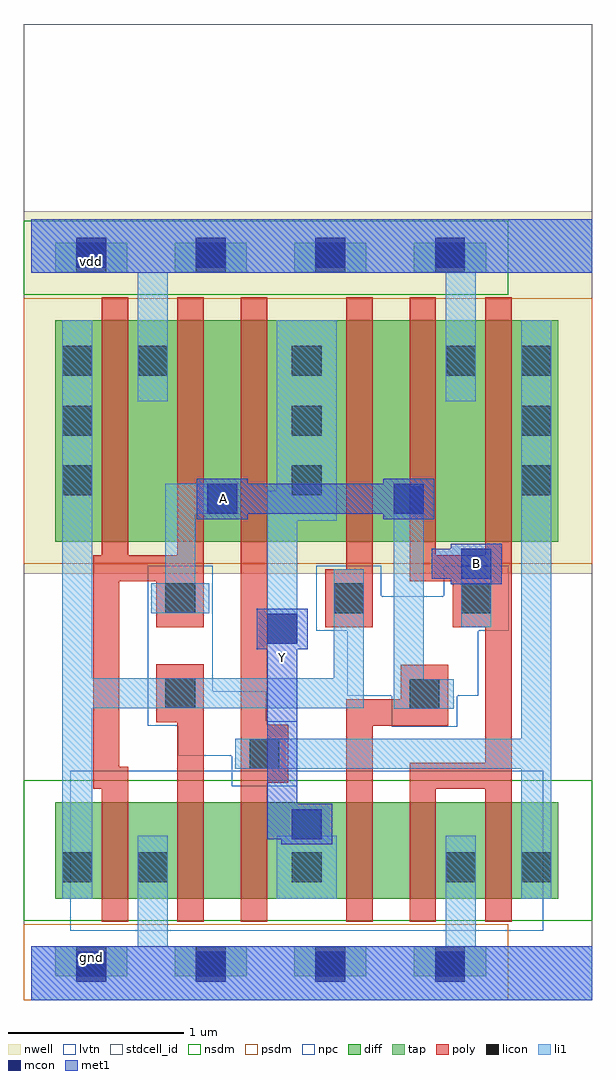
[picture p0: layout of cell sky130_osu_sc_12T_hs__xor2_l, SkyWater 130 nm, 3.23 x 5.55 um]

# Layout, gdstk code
import gdstk
lib = gdstk.Library(unit=1e-6, precision=1e-09)
def R(c, l, rs):  # rectangles x0, y0, x1, y1
    for r in rs: c.add(gdstk.rectangle(r[:2], r[2:], *l))
def A(c, l, x, y, w, h, nx, ny, dx, dy):  # array of equal rectangles
    R(c, l, [(x+i*dx, y+j*dy, x+i*dx+w, y+j*dy+h) for i in range(nx) for j in range(ny)])
nwell = (64, 20)
diff = (65, 20)
tap = (65, 44)
poly = (66, 20)
licon = (66, 44)
li1 = (67, 20)
mcon = (67, 44)
met1 = (68, 20)
stdcell_id = (81, 4)
nsdm = (93, 44)
psdm = (94, 20)
npc = (95, 20)
lvtn = (125, 44)

sky130_osu_sc_12t_hs__xo = lib.new_cell('sky130_osu_sc_12T_hs__xor2_l')
R(sky130_osu_sc_12t_hs__xo, nwell, [(-0.045,2.425,3.19,4.485)])
R(sky130_osu_sc_12t_hs__xo, diff, [(0.135,0.575,2.995,1.125), (0.135,2.605,2.995,3.865)])
A(sky130_osu_sc_12t_hs__xo, tap, 0.135, 0.135, 0.41, 0.17, 4, 2, 0.68, 4)
R(sky130_osu_sc_12t_hs__xo, poly, [(0.4,0.445,0.55,1.2), (0.83,0.445,0.98,1.58), (1.19,0.445,1.34,1.235), (1.79,0.445,1.94,1.56), (2.15,0.445,2.3,1.2), (2.58,0.445,2.73,1.2), (0.35,1.2,0.55,1.325), (2.15,1.2,2.73,1.35), (1.19,1.235,1.46,1.565), (0.35,1.325,0.5,2.38), (2.58,1.35,2.73,2.12), (1.79,1.56,2.37,1.71), (1.19,1.565,1.34,3.995), (0.71,1.58,0.98,1.91), (2.1,1.71,2.37,1.905), (0.71,2.12,0.98,2.38), (1.67,2.12,1.94,2.45), (2.395,2.12,2.73,2.38), (0.35,2.38,0.98,2.53), (2.15,2.38,2.73,2.53), (1.79,2.45,1.94,3.995), (0.4,2.53,0.55,3.995), (0.83,2.53,0.98,3.995), (2.15,2.53,2.3,3.995), (2.58,2.53,2.73,3.995)])
A(sky130_osu_sc_12t_hs__xo, licon, 0.255, 0.135, 0.17, 0.17, 4, 2, 0.68, 4)
A(sky130_osu_sc_12t_hs__xo, licon, 0.605, 0.67, 0.17, 0.17, 3, 2, 0.875, 2.88)
A(sky130_osu_sc_12t_hs__xo, licon, 0.175, 2.87, 0.17, 0.17, 3, 2, 1.305, 0.34)
R(sky130_osu_sc_12t_hs__xo, licon, [(0.175,0.67,0.345,0.84), (2.785,0.67,2.955,0.84), (1.24,1.315,1.41,1.485), (2.15,1.655,2.32,1.825), (0.76,1.66,0.93,1.83), (0.76,2.2,0.93,2.37), (1.72,2.2,1.89,2.37), (2.445,2.2,2.615,2.37), (0.175,3.55,0.345,3.72), (2.785,3.55,2.955,3.72)])
R(sky130_osu_sc_12t_hs__xo, li1, [(0,0,3.19,0.305), (0.605,0.305,0.775,0.935), (2.355,0.305,2.525,0.935), (0.175,0.575,0.345,1.66), (1.395,0.575,1.735,0.935), (2.785,0.575,2.955,1.315), (1.48,0.935,1.65,1.085), (1.16,1.315,2.955,1.485), (2.785,1.485,2.955,3.865), (2.06,1.655,2.4,1.825), (0.175,1.66,1.89,1.83), (2.06,1.825,2.23,2.935), (0.175,1.83,0.345,3.865), (1.72,1.83,1.89,2.45), (1.34,2.025,1.51,2.725), (2.445,2.12,2.615,2.565), (0.68,2.2,1.01,2.37), (0.76,2.37,0.93,2.765), (1.34,2.725,1.735,2.895), (0.76,2.765,1.17,2.935), (1.395,2.895,1.735,3.865), (0.605,3.405,0.775,4.135), (2.355,3.405,2.525,4.135), (0,4.135,3.19,4.44)])
A(sky130_osu_sc_12t_hs__xo, mcon, 0.255, 0.105, 0.17, 0.17, 4, 2, 0.68, 4.06)
R(sky130_osu_sc_12t_hs__xo, mcon, [(1.48,0.915,1.65,1.085), (1.34,2.025,1.51,2.195), (2.445,2.395,2.615,2.565), (1,2.765,1.17,2.935), (2.06,2.765,2.23,2.935)])
R(sky130_osu_sc_12t_hs__xo, met1, [(0,0,3.19,0.305), (1.42,0.885,1.71,0.915), (1.34,0.915,1.71,1.115), (1.34,1.115,1.51,1.995), (1.28,1.995,1.57,2.225), (2.385,2.365,2.675,2.395), (2.275,2.395,2.675,2.565), (2.385,2.565,2.675,2.595), (0.94,2.735,1.23,2.765), (2,2.735,2.29,2.765), (0.94,2.765,2.29,2.935), (0.94,2.935,1.23,2.965), (2,2.935,2.29,2.965), (0,4.135,3.19,4.44)])
R(sky130_osu_sc_12t_hs__xo, stdcell_id, [(-0.045,0,3.19,5.55)])
R(sky130_osu_sc_12t_hs__xo, nsdm, [(-0.045,0.45,3.19,1.25), (-0.045,4.01,2.71,4.43)])
R(sky130_osu_sc_12t_hs__xo, psdm, [(-0.045,0,2.71,0.43), (-0.045,2.48,3.19,3.99)])
R(sky130_osu_sc_12t_hs__xo, npc, [(1.14,1.215,1.51,1.39), (0.835,1.39,1.51,1.56), (2.05,1.555,2.42,1.73), (0.66,1.56,1.51,1.585), (0.66,1.585,1.335,1.755), (1.795,1.73,2.54,2.1), (0.66,1.755,1.03,2.47), (1.62,2.1,2.715,2.295), (1.62,2.295,1.99,2.47), (2.345,2.295,2.715,2.47)])
R(sky130_osu_sc_12t_hs__xo, lvtn, [(0.22,0.395,2.91,1.305)])
sky130_osu_sc_12t_hs__xo.add(gdstk.Label('gnd', (0.34,0.24), layer=68, texttype=16))
sky130_osu_sc_12t_hs__xo.add(gdstk.Label('vdd', (0.34,4.2), layer=68, texttype=16))
sky130_osu_sc_12t_hs__xo.add(gdstk.Label('A', (1.09,2.85), layer=68, texttype=5))
sky130_osu_sc_12t_hs__xo.add(gdstk.Label('Y', (1.425,1.95), layer=68, texttype=5))
sky130_osu_sc_12t_hs__xo.add(gdstk.Label('B', (2.53,2.48), layer=68, texttype=5))

lib.write_gds('sky130_osu_sc_12T_hs__xor2_l.gds')
